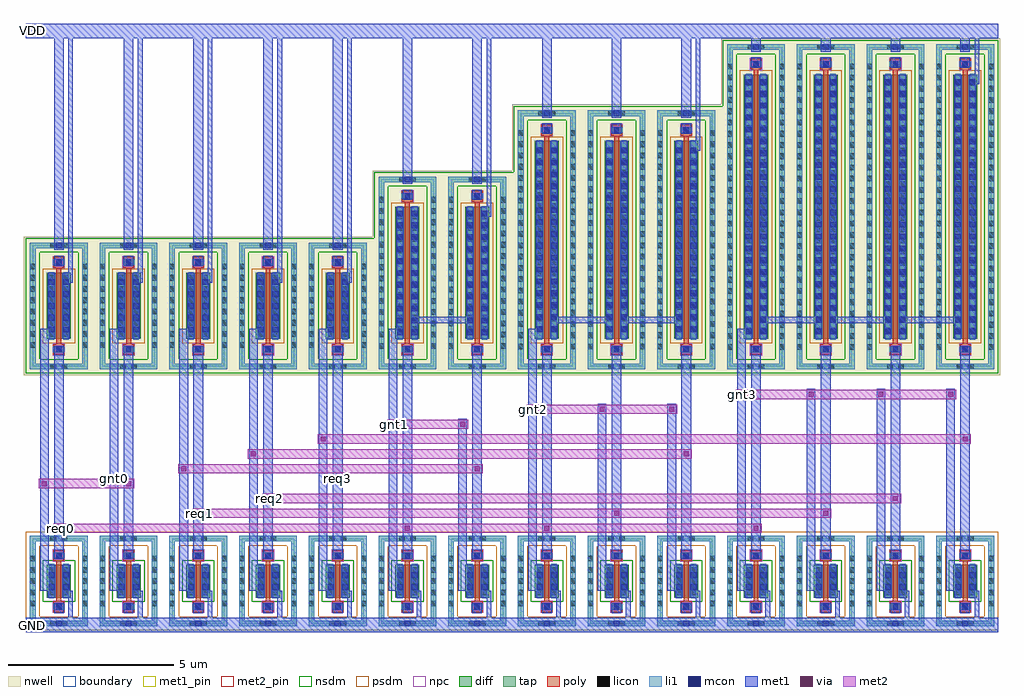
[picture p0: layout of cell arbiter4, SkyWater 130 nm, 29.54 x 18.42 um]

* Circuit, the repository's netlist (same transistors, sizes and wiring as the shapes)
* NGSPICE file created from arbiter4.ext - technology: sky130A

.subckt sky130_fd_pr__pfet_01v8_VJT448 B D S G
X0 S G D B sky130_fd_pr__pfet_01v8 ad=0.58 pd=4.58 as=0.58 ps=4.58 w=2 l=0.15
.ends

.subckt sky130_fd_pr__nfet_01v8_34VMYE B D S G
X0 S G D B sky130_fd_pr__nfet_01v8 ad=0.29 pd=2.58 as=0.29 ps=2.58 w=1 l=0.15
.ends

.subckt sky130_fd_pr__pfet_01v8_WXVH9J B D S G
X0 S G D B sky130_fd_pr__pfet_01v8 ad=1.16 pd=8.58 as=1.16 ps=8.58 w=4 l=0.15
.ends

.subckt sky130_fd_pr__pfet_01v8_QKPZRQ B D S G
X0 S G D B sky130_fd_pr__pfet_01v8 ad=1.74 pd=12.58 as=1.74 ps=12.58 w=6 l=0.15
.ends

.subckt sky130_fd_pr__pfet_01v8_EA3B65 B D S G
X0 S G D B sky130_fd_pr__pfet_01v8 ad=2.32 pd=16.58 as=2.32 ps=16.58 w=8 l=0.15
.ends

.subckt arbiter4 req0 req1 req2 gnt1 gnt2 gnt3 req3 gnt0 VDD GND
XMP1 VDD MP2/G VDD req0 sky130_fd_pr__pfet_01v8_VJT448
XMP2 VDD gnt0 VDD MP2/G sky130_fd_pr__pfet_01v8_VJT448
XMP3 VDD MP7/G VDD req1 sky130_fd_pr__pfet_01v8_VJT448
XMN1 GND MP2/G GND req0 sky130_fd_pr__nfet_01v8_34VMYE
XMP4 VDD MP4/D VDD req2 sky130_fd_pr__pfet_01v8_VJT448
XMN2 GND gnt0 GND MP2/G sky130_fd_pr__nfet_01v8_34VMYE
XMP5 VDD MP5/D VDD req3 sky130_fd_pr__pfet_01v8_VJT448
XMN3 GND MP7/G GND req1 sky130_fd_pr__nfet_01v8_34VMYE
XMP6 VDD gnt1 MP7/D req0 sky130_fd_pr__pfet_01v8_WXVH9J
XMN4 GND MP4/D GND req2 sky130_fd_pr__nfet_01v8_34VMYE
XMP8 VDD gnt2 MP9/D req0 sky130_fd_pr__pfet_01v8_QKPZRQ
XMP7 VDD MP7/D VDD MP7/G sky130_fd_pr__pfet_01v8_WXVH9J
XMN6 GND gnt1 GND req0 sky130_fd_pr__nfet_01v8_34VMYE
XMN5 GND MP5/D GND req3 sky130_fd_pr__nfet_01v8_34VMYE
XMP9 VDD MP9/D MP9/S req1 sky130_fd_pr__pfet_01v8_QKPZRQ
XMN7 GND gnt1 GND MP7/G sky130_fd_pr__nfet_01v8_34VMYE
XMN8 GND gnt2 GND req0 sky130_fd_pr__nfet_01v8_34VMYE
XMN9 GND gnt2 GND req1 sky130_fd_pr__nfet_01v8_34VMYE
XMP10 VDD MP9/S VDD MP4/D sky130_fd_pr__pfet_01v8_QKPZRQ
XMP11 VDD gnt3 MP12/D req0 sky130_fd_pr__pfet_01v8_EA3B65
XMP12 VDD MP12/D MP13/D req1 sky130_fd_pr__pfet_01v8_EA3B65
XMP13 VDD MP13/D MP14/D req2 sky130_fd_pr__pfet_01v8_EA3B65
XMN10 GND gnt2 GND MP4/D sky130_fd_pr__nfet_01v8_34VMYE
XMP14 VDD MP14/D VDD MP5/D sky130_fd_pr__pfet_01v8_EA3B65
XMN11 GND gnt3 GND req0 sky130_fd_pr__nfet_01v8_34VMYE
XMN12 GND gnt3 GND req1 sky130_fd_pr__nfet_01v8_34VMYE
XMN13 GND gnt3 GND req2 sky130_fd_pr__nfet_01v8_34VMYE
XMN14 GND gnt3 GND MP5/D sky130_fd_pr__nfet_01v8_34VMYE
.ends

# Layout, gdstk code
import gdstk
lib = gdstk.Library(unit=1e-6, precision=1e-09)
def R(c, l, rs):  # rectangles x0, y0, x1, y1
    for r in rs: c.add(gdstk.rectangle(r[:2], r[2:], *l))
def A(c, l, x, y, w, h, nx, ny, dx, dy):  # array of equal rectangles
    R(c, l, [(x+i*dx, y+j*dy, x+i*dx+w, y+j*dy+h) for i in range(nx) for j in range(ny)])
nwell = (64, 20)
diff = (65, 20)
tap = (65, 44)
poly = (66, 20)
licon = (66, 44)
li1 = (67, 20)
mcon = (67, 44)
met1_pin = (68, 16)
met1 = (68, 20)
via = (68, 44)
met2_pin = (69, 16)
met2 = (69, 20)
nsdm = (93, 44)
psdm = (94, 20)
npc = (95, 20)
boundary = (235, 4)

sky130_fd_pr__nfet_01v8_ = lib.new_cell('sky130_fd_pr__nfet_01v8_34VMYE')
R(sky130_fd_pr__nfet_01v8_, diff, [(-0.365,-0.5,0.365,0.5)])
R(sky130_fd_pr__nfet_01v8_, tap, [(-0.875,-1.37,0.875,-1.2), (-0.875,-1.2,-0.705,1.2), (0.705,-1.2,0.875,1.2), (-0.875,1.2,0.875,1.37)])
R(sky130_fd_pr__nfet_01v8_, poly, [(-0.165,-0.94,0.165,-0.61), (-0.075,-0.61,0.075,0.61), (-0.165,0.61,0.165,0.94)])
A(sky130_fd_pr__nfet_01v8_, licon, -0.875, -0.765, 0.17, 0.17, 1, 5, 0, 0.34)
A(sky130_fd_pr__nfet_01v8_, licon, 0.705, -0.765, 0.17, 0.17, 1, 5, 0, 0.34)
A(sky130_fd_pr__nfet_01v8_, licon, -0.305, -0.425, 0.17, 0.17, 1, 3, 0, 0.34)
A(sky130_fd_pr__nfet_01v8_, licon, 0.135, -0.425, 0.17, 0.17, 1, 3, 0, 0.34)
R(sky130_fd_pr__nfet_01v8_, licon, [(-0.255,-1.37,-0.085,-1.2), (0.085,-1.37,0.255,-1.2), (-0.085,-0.86,0.085,-0.69), (-0.085,0.69,0.085,0.86), (-0.255,1.2,-0.085,1.37), (0.085,1.2,0.255,1.37)])
R(sky130_fd_pr__nfet_01v8_, li1, [(-0.875,-1.37,0.875,-1.2), (-0.875,-1.2,-0.705,1.2), (0.705,-1.2,0.875,1.2), (-0.165,-0.86,0.165,-0.69), (-0.305,-0.52,-0.135,0.52), (0.135,-0.52,0.305,0.52), (-0.165,0.69,0.165,0.86), (-0.875,1.2,0.875,1.37)])
R(sky130_fd_pr__nfet_01v8_, mcon, [(-0.085,-0.86,0.085,-0.69), (-0.305,-0.265,-0.135,-0.095), (0.135,-0.265,0.305,-0.095), (-0.305,0.095,-0.135,0.265), (0.135,0.095,0.305,0.265), (-0.085,0.69,0.085,0.86)])
R(sky130_fd_pr__nfet_01v8_, met1, [(-0.145,-0.89,0.145,-0.66), (-0.335,-0.5,-0.105,0.5), (0.105,-0.5,0.335,0.5), (-0.145,0.66,0.145,0.89)])
R(sky130_fd_pr__nfet_01v8_, nsdm, [(-0.49,-0.625,0.49,0.625)])
R(sky130_fd_pr__nfet_01v8_, psdm, [(-1,-1.495,1,-1.075), (-1,-1.075,-0.58,1.075), (0.58,-1.075,1,1.075), (-1,1.075,1,1.495)])
R(sky130_fd_pr__nfet_01v8_, npc, [(-0.185,-0.96,0.185,-0.59), (-0.185,0.59,0.185,0.96)])
R(sky130_fd_pr__nfet_01v8_, boundary, [(-0.79,-1.285,0.79,1.285)])
sky130_fd_pr__nfet_01v8_.add(gdstk.Label('B', (0,-1.285), layer=67, texttype=5))
sky130_fd_pr__nfet_01v8_.add(gdstk.Label('D', (-0.22,0), layer=67, texttype=5))
sky130_fd_pr__nfet_01v8_.add(gdstk.Label('S', (0.22,0), layer=67, texttype=5))
sky130_fd_pr__nfet_01v8_.add(gdstk.Label('G', (0,0.775), layer=67, texttype=5))

sky130_fd_pr__pfet_01v8_ = lib.new_cell('sky130_fd_pr__pfet_01v8_VJT448')
R(sky130_fd_pr__pfet_01v8_, nwell, [(-1.055,-2.095,1.055,2.095)])
R(sky130_fd_pr__pfet_01v8_, diff, [(-0.365,-1,0.365,1)])
R(sky130_fd_pr__pfet_01v8_, tap, [(-0.875,-1.915,0.875,-1.745), (-0.875,-1.745,-0.705,1.745), (0.705,-1.745,0.875,1.745), (-0.875,1.745,0.875,1.915)])
R(sky130_fd_pr__pfet_01v8_, poly, [(-0.165,-1.485,0.165,-1.155), (-0.075,-1.155,0.075,1.155), (-0.165,1.155,0.165,1.485)])
A(sky130_fd_pr__pfet_01v8_, licon, -0.875, -1.275, 0.17, 0.17, 1, 8, 0, 0.34)
A(sky130_fd_pr__pfet_01v8_, licon, 0.705, -1.275, 0.17, 0.17, 1, 8, 0, 0.34)
A(sky130_fd_pr__pfet_01v8_, licon, -0.305, -0.935, 0.17, 0.17, 1, 6, 0, 0.34)
A(sky130_fd_pr__pfet_01v8_, licon, 0.135, -0.935, 0.17, 0.17, 1, 6, 0, 0.34)
R(sky130_fd_pr__pfet_01v8_, licon, [(-0.255,-1.915,-0.085,-1.745), (0.085,-1.915,0.255,-1.745), (-0.085,-1.405,0.085,-1.235), (-0.085,1.235,0.085,1.405), (-0.255,1.745,-0.085,1.915), (0.085,1.745,0.255,1.915)])
R(sky130_fd_pr__pfet_01v8_, li1, [(-0.875,-1.915,0.875,-1.745), (-0.875,-1.745,-0.705,1.745), (0.705,-1.745,0.875,1.745), (-0.165,-1.405,0.165,-1.235), (-0.305,-1.02,-0.135,1.02), (0.135,-1.02,0.305,1.02), (-0.165,1.235,0.165,1.405), (-0.875,1.745,0.875,1.915)])
A(sky130_fd_pr__pfet_01v8_, mcon, -0.305, -0.805, 0.17, 0.17, 1, 5, 0, 0.36)
A(sky130_fd_pr__pfet_01v8_, mcon, 0.135, -0.805, 0.17, 0.17, 1, 5, 0, 0.36)
R(sky130_fd_pr__pfet_01v8_, mcon, [(-0.085,-1.405,0.085,-1.235), (-0.085,1.235,0.085,1.405)])
R(sky130_fd_pr__pfet_01v8_, met1, [(-0.145,-1.435,0.145,-1.205), (-0.335,-1,-0.105,1), (0.105,-1,0.335,1), (-0.145,1.205,0.145,1.435)])
R(sky130_fd_pr__pfet_01v8_, nsdm, [(-1,-2.04,1,-1.62), (-1,-1.62,-0.58,1.62), (0.58,-1.62,1,1.62), (-1,1.62,1,2.04)])
R(sky130_fd_pr__pfet_01v8_, psdm, [(-0.49,-1.125,0.49,1.125)])
R(sky130_fd_pr__pfet_01v8_, npc, [(-0.185,-1.505,0.185,-1.135), (-0.185,1.135,0.185,1.505)])
R(sky130_fd_pr__pfet_01v8_, boundary, [(-0.79,-1.83,0.79,1.83)])
sky130_fd_pr__pfet_01v8_.add(gdstk.Label('B', (0,-1.83), layer=67, texttype=5))
sky130_fd_pr__pfet_01v8_.add(gdstk.Label('D', (-0.22,0), layer=67, texttype=5))
sky130_fd_pr__pfet_01v8_.add(gdstk.Label('S', (0.22,0), layer=67, texttype=5))
sky130_fd_pr__pfet_01v8_.add(gdstk.Label('G', (0,1.32), layer=67, texttype=5))

c_sky130_fd_pr__pfet_01v8_ = lib.new_cell('sky130_fd_pr__pfet_01v8_WXVH9J')
R(c_sky130_fd_pr__pfet_01v8_, nwell, [(-1.055,-3.095,1.055,3.095)])
R(c_sky130_fd_pr__pfet_01v8_, diff, [(-0.365,-2,0.365,2)])
R(c_sky130_fd_pr__pfet_01v8_, tap, [(-0.875,-2.915,0.875,-2.745), (-0.875,-2.745,-0.705,2.745), (0.705,-2.745,0.875,2.745), (-0.875,2.745,0.875,2.915)])
R(c_sky130_fd_pr__pfet_01v8_, poly, [(-0.165,-2.485,0.165,-2.155), (-0.075,-2.155,0.075,2.155), (-0.165,2.155,0.165,2.485)])
A(c_sky130_fd_pr__pfet_01v8_, licon, -0.875, -2.295, 0.17, 0.17, 1, 14, 0, 0.34)
A(c_sky130_fd_pr__pfet_01v8_, licon, 0.705, -2.295, 0.17, 0.17, 1, 14, 0, 0.34)
A(c_sky130_fd_pr__pfet_01v8_, licon, -0.305, -1.785, 0.17, 0.17, 1, 11, 0, 0.34)
A(c_sky130_fd_pr__pfet_01v8_, licon, 0.135, -1.785, 0.17, 0.17, 1, 11, 0, 0.34)
R(c_sky130_fd_pr__pfet_01v8_, licon, [(-0.255,-2.915,-0.085,-2.745), (0.085,-2.915,0.255,-2.745), (-0.085,-2.405,0.085,-2.235), (-0.085,2.235,0.085,2.405), (-0.255,2.745,-0.085,2.915), (0.085,2.745,0.255,2.915)])
R(c_sky130_fd_pr__pfet_01v8_, li1, [(-0.875,-2.915,0.875,-2.745), (-0.875,-2.745,-0.705,2.745), (0.705,-2.745,0.875,2.745), (-0.165,-2.405,0.165,-2.235), (-0.305,-2.02,-0.135,2.02), (0.135,-2.02,0.305,2.02), (-0.165,2.235,0.165,2.405), (-0.875,2.745,0.875,2.915)])
A(c_sky130_fd_pr__pfet_01v8_, mcon, -0.305, -1.885, 0.17, 0.17, 1, 11, 0, 0.36)
A(c_sky130_fd_pr__pfet_01v8_, mcon, 0.135, -1.885, 0.17, 0.17, 1, 11, 0, 0.36)
R(c_sky130_fd_pr__pfet_01v8_, mcon, [(-0.085,-2.405,0.085,-2.235), (-0.085,2.235,0.085,2.405)])
R(c_sky130_fd_pr__pfet_01v8_, met1, [(-0.145,-2.435,0.145,-2.205), (-0.335,-2,-0.105,2), (0.105,-2,0.335,2), (-0.145,2.205,0.145,2.435)])
R(c_sky130_fd_pr__pfet_01v8_, nsdm, [(-1,-3.04,1,-2.62), (-1,-2.62,-0.58,2.62), (0.58,-2.62,1,2.62), (-1,2.62,1,3.04)])
R(c_sky130_fd_pr__pfet_01v8_, psdm, [(-0.49,-2.125,0.49,2.125)])
R(c_sky130_fd_pr__pfet_01v8_, npc, [(-0.185,-2.505,0.185,-2.135), (-0.185,2.135,0.185,2.505)])
R(c_sky130_fd_pr__pfet_01v8_, boundary, [(-0.79,-2.83,0.79,2.83)])
c_sky130_fd_pr__pfet_01v8_.add(gdstk.Label('B', (0,-2.83), layer=67, texttype=5))
c_sky130_fd_pr__pfet_01v8_.add(gdstk.Label('D', (-0.22,0), layer=67, texttype=5))
c_sky130_fd_pr__pfet_01v8_.add(gdstk.Label('S', (0.22,0), layer=67, texttype=5))
c_sky130_fd_pr__pfet_01v8_.add(gdstk.Label('G', (0,2.32), layer=67, texttype=5))

c_sky130_fd_pr__pfet_01v8__ = lib.new_cell('sky130_fd_pr__pfet_01v8_QKPZRQ')
R(c_sky130_fd_pr__pfet_01v8__, nwell, [(-1.055,-4.095,1.055,4.095)])
R(c_sky130_fd_pr__pfet_01v8__, diff, [(-0.365,-3,0.365,3)])
R(c_sky130_fd_pr__pfet_01v8__, tap, [(-0.875,-3.915,0.875,-3.745), (-0.875,-3.745,-0.705,3.745), (0.705,-3.745,0.875,3.745), (-0.875,3.745,0.875,3.915)])
R(c_sky130_fd_pr__pfet_01v8__, poly, [(-0.165,-3.485,0.165,-3.155), (-0.075,-3.155,0.075,3.155), (-0.165,3.155,0.165,3.485)])
A(c_sky130_fd_pr__pfet_01v8__, licon, -0.875, -3.315, 0.17, 0.17, 1, 20, 0, 0.34)
A(c_sky130_fd_pr__pfet_01v8__, licon, 0.705, -3.315, 0.17, 0.17, 1, 20, 0, 0.34)
A(c_sky130_fd_pr__pfet_01v8__, licon, -0.305, -2.805, 0.17, 0.17, 1, 17, 0, 0.34)
A(c_sky130_fd_pr__pfet_01v8__, licon, 0.135, -2.805, 0.17, 0.17, 1, 17, 0, 0.34)
R(c_sky130_fd_pr__pfet_01v8__, licon, [(-0.255,-3.915,-0.085,-3.745), (0.085,-3.915,0.255,-3.745), (-0.085,-3.405,0.085,-3.235), (-0.085,3.235,0.085,3.405), (-0.255,3.745,-0.085,3.915), (0.085,3.745,0.255,3.915)])
R(c_sky130_fd_pr__pfet_01v8__, li1, [(-0.875,-3.915,0.875,-3.745), (-0.875,-3.745,-0.705,3.745), (0.705,-3.745,0.875,3.745), (-0.165,-3.405,0.165,-3.235), (-0.305,-3.02,-0.135,3.02), (0.135,-3.02,0.305,3.02), (-0.165,3.235,0.165,3.405), (-0.875,3.745,0.875,3.915)])
A(c_sky130_fd_pr__pfet_01v8__, mcon, -0.305, -2.785, 0.17, 0.17, 1, 16, 0, 0.36)
A(c_sky130_fd_pr__pfet_01v8__, mcon, 0.135, -2.785, 0.17, 0.17, 1, 16, 0, 0.36)
R(c_sky130_fd_pr__pfet_01v8__, mcon, [(-0.085,-3.405,0.085,-3.235), (-0.085,3.235,0.085,3.405)])
R(c_sky130_fd_pr__pfet_01v8__, met1, [(-0.145,-3.435,0.145,-3.205), (-0.335,-3,-0.105,3), (0.105,-3,0.335,3), (-0.145,3.205,0.145,3.435)])
R(c_sky130_fd_pr__pfet_01v8__, nsdm, [(-1,-4.04,1,-3.62), (-1,-3.62,-0.58,3.62), (0.58,-3.62,1,3.62), (-1,3.62,1,4.04)])
R(c_sky130_fd_pr__pfet_01v8__, psdm, [(-0.49,-3.125,0.49,3.125)])
R(c_sky130_fd_pr__pfet_01v8__, npc, [(-0.185,-3.505,0.185,-3.135), (-0.185,3.135,0.185,3.505)])
R(c_sky130_fd_pr__pfet_01v8__, boundary, [(-0.79,-3.83,0.79,3.83)])
c_sky130_fd_pr__pfet_01v8__.add(gdstk.Label('B', (0,-3.83), layer=67, texttype=5))
c_sky130_fd_pr__pfet_01v8__.add(gdstk.Label('D', (-0.22,0), layer=67, texttype=5))
c_sky130_fd_pr__pfet_01v8__.add(gdstk.Label('S', (0.22,0), layer=67, texttype=5))
c_sky130_fd_pr__pfet_01v8__.add(gdstk.Label('G', (0,3.32), layer=67, texttype=5))

c_sky130_fd_pr__pfet_01v8___ = lib.new_cell('sky130_fd_pr__pfet_01v8_EA3B65')
R(c_sky130_fd_pr__pfet_01v8___, nwell, [(-1.055,-5.095,1.055,5.095)])
R(c_sky130_fd_pr__pfet_01v8___, diff, [(-0.365,-4,0.365,4)])
R(c_sky130_fd_pr__pfet_01v8___, tap, [(-0.875,-4.915,0.875,-4.745), (-0.875,-4.745,-0.705,4.745), (0.705,-4.745,0.875,4.745), (-0.875,4.745,0.875,4.915)])
R(c_sky130_fd_pr__pfet_01v8___, poly, [(-0.165,-4.485,0.165,-4.155), (-0.075,-4.155,0.075,4.155), (-0.165,4.155,0.165,4.485)])
A(c_sky130_fd_pr__pfet_01v8___, licon, -0.875, -4.335, 0.17, 0.17, 1, 26, 0, 0.34)
A(c_sky130_fd_pr__pfet_01v8___, licon, 0.705, -4.335, 0.17, 0.17, 1, 26, 0, 0.34)
A(c_sky130_fd_pr__pfet_01v8___, licon, -0.305, -3.825, 0.17, 0.17, 1, 23, 0, 0.34)
A(c_sky130_fd_pr__pfet_01v8___, licon, 0.135, -3.825, 0.17, 0.17, 1, 23, 0, 0.34)
R(c_sky130_fd_pr__pfet_01v8___, licon, [(-0.255,-4.915,-0.085,-4.745), (0.085,-4.915,0.255,-4.745), (-0.085,-4.405,0.085,-4.235), (-0.085,4.235,0.085,4.405), (-0.255,4.745,-0.085,4.915), (0.085,4.745,0.255,4.915)])
R(c_sky130_fd_pr__pfet_01v8___, li1, [(-0.875,-4.915,0.875,-4.745), (-0.875,-4.745,-0.705,4.745), (0.705,-4.745,0.875,4.745), (-0.165,-4.405,0.165,-4.235), (-0.305,-4.02,-0.135,4.02), (0.135,-4.02,0.305,4.02), (-0.165,4.235,0.165,4.405), (-0.875,4.745,0.875,4.915)])
A(c_sky130_fd_pr__pfet_01v8___, mcon, -0.305, -3.865, 0.17, 0.17, 1, 22, 0, 0.36)
A(c_sky130_fd_pr__pfet_01v8___, mcon, 0.135, -3.865, 0.17, 0.17, 1, 22, 0, 0.36)
R(c_sky130_fd_pr__pfet_01v8___, mcon, [(-0.085,-4.405,0.085,-4.235), (-0.085,4.235,0.085,4.405)])
R(c_sky130_fd_pr__pfet_01v8___, met1, [(-0.145,-4.435,0.145,-4.205), (-0.335,-4,-0.105,4), (0.105,-4,0.335,4), (-0.145,4.205,0.145,4.435)])
R(c_sky130_fd_pr__pfet_01v8___, nsdm, [(-1,-5.04,1,-4.62), (-1,-4.62,-0.58,4.62), (0.58,-4.62,1,4.62), (-1,4.62,1,5.04)])
R(c_sky130_fd_pr__pfet_01v8___, psdm, [(-0.49,-4.125,0.49,4.125)])
R(c_sky130_fd_pr__pfet_01v8___, npc, [(-0.185,-4.505,0.185,-4.135), (-0.185,4.135,0.185,4.505)])
R(c_sky130_fd_pr__pfet_01v8___, boundary, [(-0.79,-4.83,0.79,4.83)])
c_sky130_fd_pr__pfet_01v8___.add(gdstk.Label('B', (0,-4.83), layer=67, texttype=5))
c_sky130_fd_pr__pfet_01v8___.add(gdstk.Label('D', (-0.22,0), layer=67, texttype=5))
c_sky130_fd_pr__pfet_01v8___.add(gdstk.Label('S', (0.22,0), layer=67, texttype=5))
c_sky130_fd_pr__pfet_01v8___.add(gdstk.Label('G', (0,4.32), layer=67, texttype=5))

arbiter4 = lib.new_cell('arbiter4')
A(arbiter4, li1, -0.085, -1.37, 0.17, 0.17, 14, 1, 2.11, 0)
A(arbiter4, li1, -0.085, 10.075, 0.17, 0.17, 5, 1, 2.11, 0)
A(arbiter4, li1, 14.685, 14.075, 0.17, 0.17, 3, 1, 2.11, 0)
A(arbiter4, li1, 21.015, 16.075, 0.17, 0.17, 4, 1, 2.11, 0)
R(arbiter4, li1, [(10.465,12.075,10.635,12.245), (12.575,12.075,12.745,12.245)])
A(arbiter4, mcon, -0.085, -1.37, 0.17, 0.17, 14, 1, 2.11, 0)
A(arbiter4, mcon, -0.085, 10.075, 0.17, 0.17, 5, 1, 2.11, 0)
A(arbiter4, mcon, 14.685, 14.075, 0.17, 0.17, 3, 1, 2.11, 0)
A(arbiter4, mcon, 21.015, 16.075, 0.17, 0.17, 4, 1, 2.11, 0)
R(arbiter4, mcon, [(10.465,12.075,10.635,12.245), (12.575,12.075,12.745,12.245)])
R(arbiter4, met1_pin, [(-0.95,-1.48,-0.65,-1.18), (1.58,3,1.76,3.2), (8.34,3,8.54,3.2), (-0.95,16.5,-0.65,16.8)])
A(arbiter4, met1, 0.285, -1.11, 0.14, 0.81, 14, 1, 2.11, 0)
A(arbiter4, met1, -0.145, -0.97, 0.29, 0.31, 14, 1, 2.11, 0)
A(arbiter4, met1, -0.57, -0.3, 0.26, 7.93, 6, 1, 2.11, 0)
A(arbiter4, met1, 22.64, -0.3, 0.26, 6.12, 3, 1, 2.11, 0)
A(arbiter4, met1, -0.145, 0.85, 0.29, 6.08, 14, 1, 2.11, 0)
A(arbiter4, met1, 21.3, 7.8, 1.71, 0.2, 3, 1, 2.11, 0)
A(arbiter4, met1, 0.285, 9.03, 0.14, 7.4, 5, 1, 2.11, 0)
A(arbiter4, met1, -0.145, 9.535, 0.29, 0.315, 5, 1, 2.11, 0)
A(arbiter4, met1, -0.145, 10.025, 0.29, 6.405, 5, 1, 2.11, 0)
A(arbiter4, met1, 14.625, 13.535, 0.29, 0.315, 3, 1, 2.11, 0)
A(arbiter4, met1, 14.625, 14.025, 0.29, 2.405, 3, 1, 2.11, 0)
A(arbiter4, met1, 20.955, 15.535, 0.29, 0.315, 4, 1, 2.11, 0)
A(arbiter4, met1, 20.955, 16.025, 0.29, 0.405, 4, 1, 2.11, 0)
R(arbiter4, met1, [(-1,-1.55,28.43,-1.11), (12.09,-0.3,12.35,4.92), (14.2,-0.3,14.46,7.63), (16.31,-0.3,16.57,5.37), (18.42,-0.3,18.68,5.37), (20.53,-0.3,20.79,7.63), (10.75,7.8,12.46,8), (14.97,7.8,16.68,8), (17.08,7.8,18.79,8), (12.945,11.03,13.085,16.43), (10.405,11.535,10.695,11.85), (12.515,11.535,12.805,11.85), (10.405,12.025,10.695,16.43), (12.515,12.025,12.805,16.43), (19.275,13.03,19.415,16.43), (27.715,15.03,27.855,16.43), (-1,16.43,28.43,16.87)])
A(arbiter4, via, 14.255, 5.125, 0.15, 0.15, 3, 1, 2.11, 0)
A(arbiter4, via, 20.585, 5.575, 0.15, 0.15, 4, 1, 2.11, 0)
R(arbiter4, via, [(-0.075,1.525,0.075,1.675), (10.475,1.525,10.625,1.675), (14.695,1.525,14.845,1.675), (21.025,1.525,21.175,1.675), (4.145,1.975,4.295,2.125), (16.805,1.975,16.955,2.125), (23.135,1.975,23.285,2.125), (6.255,2.425,6.405,2.575), (25.245,2.425,25.395,2.575), (-0.515,2.875,-0.365,3.025), (2.035,2.875,2.185,3.025), (3.705,3.325,3.855,3.475), (12.585,3.325,12.735,3.475), (5.815,3.775,5.965,3.925), (18.915,3.775,19.065,3.925), (7.925,4.225,8.075,4.375), (27.355,4.225,27.505,4.375), (10.035,4.675,10.185,4.825), (12.145,4.675,12.295,4.825)])
R(arbiter4, met2_pin, [(-0.11,1.54,0.19,1.66), (4.11,1.99,4.41,2.11), (6.22,2.44,6.52,2.56), (10,4.69,10.3,4.81), (14.22,5.14,14.52,5.26), (20.55,5.59,20.85,5.71)])
R(arbiter4, met2, [(-0.17,1.46,21.27,1.74), (4.05,1.91,23.38,2.19), (6.16,2.36,25.49,2.64), (-0.61,2.81,2.28,3.09), (3.61,3.26,12.83,3.54), (5.72,3.71,19.16,3.99), (7.83,4.16,27.6,4.44), (9.94,4.61,12.39,4.89), (14.16,5.06,18.72,5.34), (20.49,5.51,27.16,5.79)])
A(arbiter4, nsdm, 1, 6.29, 0.11, 4.08, 5, 1, 2.11, 0)
A(arbiter4, nsdm, 15.77, 6.29, 0.11, 8.08, 3, 1, 2.11, 0)
A(arbiter4, nsdm, 22.1, 6.29, 0.11, 10.08, 3, 1, 2.11, 0)
R(arbiter4, nsdm, [(11.55,6.29,11.66,12.37), (13.66,6.29,13.77,12.37)])
A(arbiter4, psdm, 1, -1.495, 0.11, 2.99, 13, 1, 2.11, 0)
arbiter4.add(gdstk.Reference(sky130_fd_pr__nfet_01v8_, (0,0)))
arbiter4.add(gdstk.Reference(sky130_fd_pr__nfet_01v8_, (2.11,0)))
arbiter4.add(gdstk.Reference(sky130_fd_pr__nfet_01v8_, (4.22,0)))
arbiter4.add(gdstk.Reference(sky130_fd_pr__nfet_01v8_, (6.33,0)))
arbiter4.add(gdstk.Reference(sky130_fd_pr__nfet_01v8_, (8.44,0)))
arbiter4.add(gdstk.Reference(sky130_fd_pr__nfet_01v8_, (10.55,0)))
arbiter4.add(gdstk.Reference(sky130_fd_pr__nfet_01v8_, (12.66,0)))
arbiter4.add(gdstk.Reference(sky130_fd_pr__nfet_01v8_, (14.77,0)))
arbiter4.add(gdstk.Reference(sky130_fd_pr__nfet_01v8_, (16.88,0)))
arbiter4.add(gdstk.Reference(sky130_fd_pr__nfet_01v8_, (18.99,0)))
arbiter4.add(gdstk.Reference(sky130_fd_pr__nfet_01v8_, (21.1,0)))
arbiter4.add(gdstk.Reference(sky130_fd_pr__nfet_01v8_, (23.21,0)))
arbiter4.add(gdstk.Reference(sky130_fd_pr__nfet_01v8_, (25.32,0)))
arbiter4.add(gdstk.Reference(sky130_fd_pr__nfet_01v8_, (27.43,0)))
arbiter4.add(gdstk.Reference(sky130_fd_pr__pfet_01v8_, (0,8.33)))
arbiter4.add(gdstk.Reference(sky130_fd_pr__pfet_01v8_, (2.11,8.33)))
arbiter4.add(gdstk.Reference(sky130_fd_pr__pfet_01v8_, (4.22,8.33)))
arbiter4.add(gdstk.Reference(sky130_fd_pr__pfet_01v8_, (6.33,8.33)))
arbiter4.add(gdstk.Reference(sky130_fd_pr__pfet_01v8_, (8.44,8.33)))
arbiter4.add(gdstk.Reference(c_sky130_fd_pr__pfet_01v8_, (10.55,9.33)))
arbiter4.add(gdstk.Reference(c_sky130_fd_pr__pfet_01v8_, (12.66,9.33)))
arbiter4.add(gdstk.Reference(c_sky130_fd_pr__pfet_01v8__, (14.77,10.33)))
arbiter4.add(gdstk.Reference(c_sky130_fd_pr__pfet_01v8__, (16.88,10.33)))
arbiter4.add(gdstk.Reference(c_sky130_fd_pr__pfet_01v8__, (18.99,10.33)))
arbiter4.add(gdstk.Reference(c_sky130_fd_pr__pfet_01v8___, (21.1,11.33)))
arbiter4.add(gdstk.Reference(c_sky130_fd_pr__pfet_01v8___, (23.21,11.33)))
arbiter4.add(gdstk.Reference(c_sky130_fd_pr__pfet_01v8___, (25.32,11.33)))
arbiter4.add(gdstk.Reference(c_sky130_fd_pr__pfet_01v8___, (27.43,11.33)))
arbiter4.add(gdstk.Label('req0', (0.04,1.6), layer=69, texttype=5))
arbiter4.add(gdstk.Label('req1', (4.26,2.05), layer=69, texttype=5))
arbiter4.add(gdstk.Label('req2', (6.37,2.5), layer=69, texttype=5))
arbiter4.add(gdstk.Label('gnt1', (10.15,4.75), layer=69, texttype=5))
arbiter4.add(gdstk.Label('gnt2', (14.37,5.2), layer=69, texttype=5))
arbiter4.add(gdstk.Label('gnt3', (20.7,5.65), layer=69, texttype=5))
arbiter4.add(gdstk.Label('req3', (8.44,3.1), layer=68, texttype=5))
arbiter4.add(gdstk.Label('gnt0', (1.67,3.1), layer=68, texttype=5))
arbiter4.add(gdstk.Label('VDD', (-0.8,16.65), layer=68, texttype=5))
arbiter4.add(gdstk.Label('GND', (-0.8,-1.33), layer=68, texttype=5))

lib.write_gds('arbiter4.gds')
